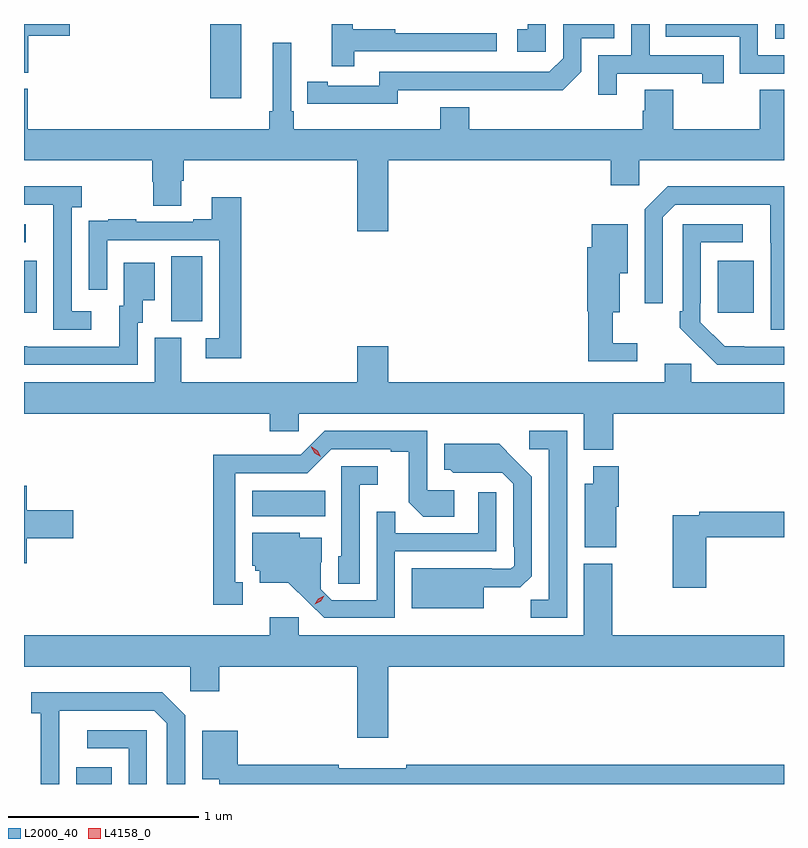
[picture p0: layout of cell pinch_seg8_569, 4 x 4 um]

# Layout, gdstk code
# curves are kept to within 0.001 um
import gdstk
lib = gdstk.Library(unit=1e-6, precision=1e-09)
def R(c, l, rs):  # rectangles x0, y0, x1, y1
    for r in rs: c.add(gdstk.rectangle(r[:2], r[2:], *l))
def P(c, l, *ps):  # polygons
    for p in ps: c.add(gdstk.Polygon(p, *l))
L2000_40 = (2000, 40)
L4158_0 = (4158, 0)

pinch_seg8_569 = lib.new_cell('pinch_seg8_569')
R(pinch_seg8_569, L2000_40, [(175.517,1089.242,175.705,1089.331), (176.444,1090.652,176.828,1090.786), (176.018,1091.677,176.182,1092.02), (175.243,1091.721,175.309,1091.995), (178.895,1091.721,179.083,1091.995), (175.243,1092.093,175.252,1092.189), (176.222,1092.852,176.386,1093.242), (179.196,1093.164,179.243,1093.242)])
P(pinch_seg8_569, L2000_40, [(178.363,1092.981),(178.814,1092.981),(178.814,1092.93),(178.925,1092.93),(178.925,1093.077),(178.536,1093.077),(178.536,1093.242),(178.44,1093.242),(178.44,1093.077),(178.266,1093.077),(178.266,1092.87),(178.363,1092.87)],
  [(177.99,1093.242),(177.893,1093.242),(177.893,1093.215),(177.84,1093.215),(177.84,1093.095),(177.99,1093.095)],
  [(177.21,1092.894),(178.078,1092.893),(178.176,1092.99),(178.176,1093.167),(178.35,1093.167),(178.35,1093.242),(178.08,1093.242),(178.08,1093.062),(178.008,1092.99),(177.114,1092.99),(177.114,1092.918),(176.842,1092.918),(176.842,1092.938),(176.734,1092.938),(176.734,1092.822),(177.21,1092.821)],
  [(175.265,1093.181),(175.483,1093.181),(175.483,1093.242),(175.243,1093.242),(175.243,1092.985),(175.265,1092.985)],
  [(176.981,1093.098),(177.73,1093.098),(177.73,1093.194),(177.197,1093.194),(177.197,1093.214),(176.974,1093.214),(176.974,1093.242),(176.864,1093.242),(176.864,1093.02),(176.981,1093.02)],
  [(179.243,1093.077),(179.106,1093.077),(179.106,1093.242),(178.621,1093.242),(178.621,1093.176),(179.01,1093.176),(179.01,1092.981),(179.243,1092.981)],
  [(177.16,1092.524),(178.331,1092.524),(178.331,1092.393),(178.482,1092.393),(178.482,1092.524),(179.243,1092.524),(179.243,1092.896),(179.116,1092.896),(179.116,1092.688),(178.659,1092.688),(178.659,1092.896),(178.511,1092.896),(178.511,1092.786),(178.499,1092.786),(178.499,1092.688),(177.587,1092.688),(177.587,1092.805),(177.434,1092.805),(177.434,1092.688),(176.663,1092.688),(176.663,1092.784),(176.649,1092.784),(176.649,1093.144),(176.552,1093.144),(176.552,1092.784),(176.533,1092.784),(176.533,1092.688),(175.262,1092.688),(175.262,1092.9),(175.243,1092.9),(175.243,1092.524),(175.919,1092.524),(175.919,1092.411),(175.924,1092.411),(175.924,1092.286),(176.071,1092.286),(176.071,1092.418),(176.084,1092.418),(176.084,1092.524),(176.996,1092.524),(176.996,1092.15),(177.16,1092.15)],
  [(179.243,1092.388),(178.63,1092.388),(178.509,1092.267),(178.509,1091.772),(178.605,1091.772),(178.605,1092.225),(178.671,1092.291),(179.171,1092.291),(179.171,1092.091),(179.172,1092.091),(179.172,1091.634),(179.243,1091.634)],
  [(175.597,1091.73),(175.494,1091.73),(175.494,1092.278),(175.546,1092.278),(175.546,1092.388),(175.243,1092.388),(175.243,1092.291),(175.397,1092.291),(175.397,1092.091),(175.398,1092.091),(175.398,1091.634),(175.597,1091.634)],
  [(176.387,1092.331),(176.231,1092.331),(176.231,1092.214),(176.135,1092.214),(176.135,1092.201),(175.835,1092.201),(175.835,1092.214),(175.687,1092.214),(175.687,1092.207),(175.585,1092.207),(175.585,1092.098),(175.584,1092.098),(175.584,1091.844),(175.68,1091.844),(175.68,1092.105),(176.271,1092.105),(176.271,1091.589),(176.199,1091.589),(176.199,1091.484),(176.387,1091.484)],
  [(179.243,1091.544),(178.932,1091.545),(178.803,1091.673),(178.803,1091.773),(178.806,1091.773),(178.806,1092.093),(179.026,1092.093),(179.026,1092.189),(178.71,1092.189),(178.71,1091.731),(178.695,1091.731),(178.695,1091.643),(178.892,1091.448),(179.243,1091.448)],
  [(178.471,1091.563),(178.342,1091.563),(178.342,1091.726),(178.378,1091.726),(178.378,1091.93),(178.42,1091.93),(178.42,1092.187),(178.232,1092.187),(178.232,1092.066),(178.208,1092.066),(178.208,1091.73),(178.213,1091.73),(178.213,1091.466),(178.471,1091.466)],
  [(175.842,1091.67),(175.867,1091.67),(175.867,1091.789),(175.93,1091.789),(175.93,1091.986),(175.769,1091.986),(175.769,1091.76),(175.745,1091.76),(175.745,1091.544),(175.261,1091.544),(175.261,1091.545),(175.243,1091.545),(175.243,1091.448),(175.842,1091.448)],
  [(178.343,1091.192),(179.243,1091.192),(179.243,1091.356),(178.755,1091.356),(178.755,1091.454),(178.616,1091.454),(178.616,1091.356),(177.16,1091.356),(177.16,1091.545),(176.996,1091.545),(176.996,1091.356),(176.071,1091.356),(176.071,1091.592),(175.931,1091.592),(175.931,1091.356),(175.243,1091.356),(175.243,1091.192),(176.537,1091.192),(176.537,1091.099),(176.688,1091.099),(176.688,1091.192),(178.19,1091.192),(178.19,1091),(178.343,1091)],
  [(176.395,1090.305),(176.356,1090.305),(176.356,1090.878),(176.733,1090.878),(176.859,1091.004),(177.173,1091.004),(177.173,1090.992),(177.267,1090.992),(177.267,1090.724),(177.343,1090.648),(177.508,1090.648),(177.508,1090.788),(177.366,1090.788),(177.366,1091.1),(176.826,1091.1),(176.7,1090.974),(176.478,1090.974),(176.478,1090.976),(176.238,1090.976),(176.238,1090.185),(176.395,1090.185)],
  [(178.101,1091.1),(177.903,1091.1),(177.903,1091.004),(178.005,1091.004),(178.005,1090.211),(177.91,1090.211),(177.91,1090.116),(178.101,1090.116)],
  [(177.664,1090.277),(177.856,1090.277),(177.915,1090.336),(177.915,1090.858),(177.743,1091.032),(177.455,1091.032),(177.455,1090.896),(177.486,1090.896),(177.502,1090.88),(177.759,1090.881),(177.819,1090.821),(177.819,1090.492),(177.822,1090.492),(177.822,1090.392),(177.804,1090.374),(177.704,1090.374),(177.704,1090.378),(177.284,1090.378),(177.284,1090.166),(177.664,1090.166)],
  [(178.36,1090.701),(178.373,1090.701),(178.373,1090.915),(178.238,1090.915),(178.238,1090.822),(178.193,1090.822),(178.193,1090.487),(178.36,1090.487)],
  [(177.009,1090.817),(177.106,1090.817),(177.106,1090.914),(176.913,1090.914),(176.913,1090.44),(176.898,1090.44),(176.898,1090.297),(177.009,1090.297)],
  [(175.258,1090.535),(175.501,1090.535),(175.501,1090.682),(175.258,1090.682),(175.258,1090.813),(175.243,1090.813),(175.243,1090.403),(175.258,1090.403)],
  [(177.195,1090.467),(177.729,1090.467),(177.729,1090.777),(177.633,1090.777),(177.633,1090.563),(177.197,1090.563),(177.197,1090.676),(177.099,1090.676),(177.099,1090.209),(176.862,1090.209),(176.805,1090.266),(176.805,1090.408),(176.809,1090.408),(176.809,1090.537),(176.694,1090.537),(176.694,1090.564),(176.444,1090.564),(176.444,1090.392),(176.46,1090.392),(176.46,1090.365),(176.483,1090.365),(176.483,1090.301),(176.635,1090.301),(176.822,1090.116),(177.195,1090.116)],
  [(178.835,1090.54),(179.243,1090.54),(179.243,1090.676),(178.798,1090.676),(178.798,1090.656),(178.657,1090.656),(178.657,1090.275),(178.835,1090.275)],
  [(177.16,1089.86),(179.243,1089.86),(179.243,1090.024),(178.338,1090.024),(178.338,1090.402),(178.19,1090.402),(178.19,1090.024),(176.688,1090.024),(176.688,1090.12),(176.537,1090.12),(176.537,1090.024),(175.243,1090.024),(175.243,1089.86),(176.118,1089.86),(176.118,1089.729),(176.27,1089.729),(176.27,1089.86),(176.996,1089.86),(176.996,1089.486),(177.16,1089.486)],
  [(175.428,1089.427),(175.429,1089.627),(175.929,1089.627),(175.995,1089.561),(175.995,1089.242),(176.091,1089.242),(176.091,1089.603),(175.97,1089.724),(175.281,1089.724),(175.281,1089.614),(175.332,1089.614),(175.332,1089.242),(175.428,1089.242)],
  [(175.89,1089.525),(175.575,1089.525),(175.575,1089.429),(175.794,1089.429),(175.794,1089.242),(175.89,1089.242)],
  [(179.243,1089.344),(177.256,1089.344),(177.256,1089.325),(176.9,1089.325),(176.9,1089.344),(176.367,1089.344),(176.367,1089.523),(176.18,1089.523),(176.18,1089.266),(176.27,1089.266),(176.27,1089.242),(179.243,1089.242)])
P(pinch_seg8_569, L4158_0, [(176.774,1090.187),(176.774,1090.188),(176.791,1090.217),(176.822,1090.233),(176.822,1090.233),(176.822,1090.232),(176.805,1090.203),(176.774,1090.187)],
  [(176.805,1090.964),(176.774,1090.983),(176.756,1091.015),(176.756,1091.016),(176.757,1091.016),(176.788,1090.997),(176.806,1090.964),(176.806,1090.964)])

lib.write_gds('pinch_seg8_569.gds')
